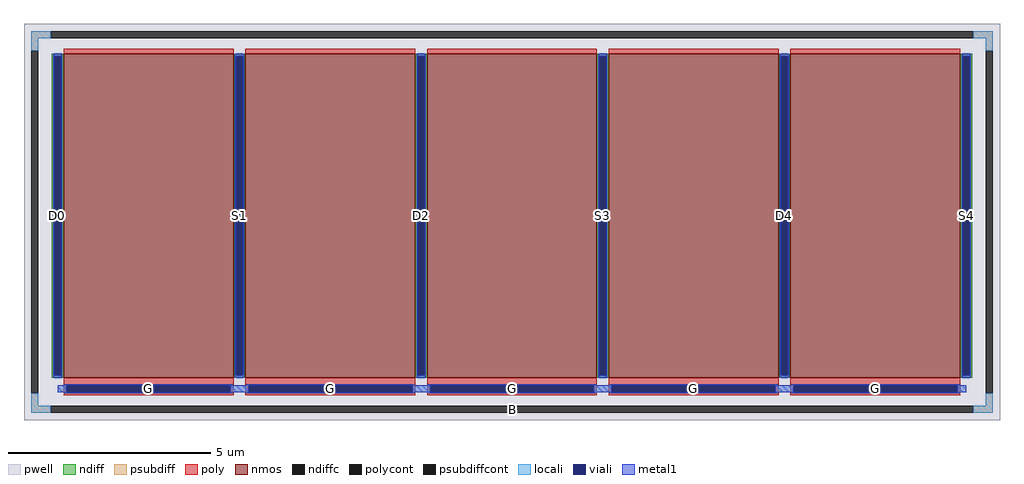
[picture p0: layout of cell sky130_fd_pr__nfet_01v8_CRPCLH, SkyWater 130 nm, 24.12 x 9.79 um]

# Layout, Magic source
magic
tech sky130A
magscale 1 2
<< pwell >>
rect -2412 -979 2412 979
<< nmos >>
rect -2216 -769 -1376 831
rect -1318 -769 -478 831
rect -420 -769 420 831
rect 478 -769 1318 831
rect 1376 -769 2216 831
<< ndiff >>
rect -2274 819 -2216 831
rect -2274 -757 -2262 819
rect -2228 -757 -2216 819
rect -2274 -769 -2216 -757
rect -1376 819 -1318 831
rect -1376 -757 -1364 819
rect -1330 -757 -1318 819
rect -1376 -769 -1318 -757
rect -478 819 -420 831
rect -478 -757 -466 819
rect -432 -757 -420 819
rect -478 -769 -420 -757
rect 420 819 478 831
rect 420 -757 432 819
rect 466 -757 478 819
rect 420 -769 478 -757
rect 1318 819 1376 831
rect 1318 -757 1330 819
rect 1364 -757 1376 819
rect 1318 -769 1376 -757
rect 2216 819 2274 831
rect 2216 -757 2228 819
rect 2262 -757 2274 819
rect 2216 -769 2274 -757
<< ndiffc >>
rect -2262 -757 -2228 819
rect -1364 -757 -1330 819
rect -466 -757 -432 819
rect 432 -757 466 819
rect 1330 -757 1364 819
rect 2228 -757 2262 819
<< psubdiff >>
rect -2376 909 -2280 943
rect 2280 909 2376 943
rect -2376 847 -2342 909
rect 2342 847 2376 909
rect -2376 -909 -2342 -847
rect 2342 -909 2376 -847
rect -2376 -943 -2280 -909
rect 2280 -943 2376 -909
<< psubdiffcont >>
rect -2280 909 2280 943
rect -2376 -847 -2342 847
rect 2342 -847 2376 847
rect -2280 -943 2280 -909
<< poly >>
rect -2216 831 -1376 857
rect -1318 831 -478 857
rect -420 831 420 857
rect 478 831 1318 857
rect 1376 831 2216 857
rect -2216 -807 -1376 -769
rect -2216 -841 -2200 -807
rect -1392 -841 -1376 -807
rect -2216 -857 -1376 -841
rect -1318 -807 -478 -769
rect -1318 -841 -1302 -807
rect -494 -841 -478 -807
rect -1318 -857 -478 -841
rect -420 -807 420 -769
rect -420 -841 -404 -807
rect 404 -841 420 -807
rect -420 -857 420 -841
rect 478 -807 1318 -769
rect 478 -841 494 -807
rect 1302 -841 1318 -807
rect 478 -857 1318 -841
rect 1376 -807 2216 -769
rect 1376 -841 1392 -807
rect 2200 -841 2216 -807
rect 1376 -857 2216 -841
<< polycont >>
rect -2200 -841 -1392 -807
rect -1302 -841 -494 -807
rect -404 -841 404 -807
rect 494 -841 1302 -807
rect 1392 -841 2200 -807
<< locali >>
rect -2376 909 -2280 943
rect 2280 909 2376 943
rect -2376 847 -2342 909
rect 2342 847 2376 909
rect -2262 819 -2228 835
rect -2262 -773 -2228 -757
rect -1364 819 -1330 835
rect -1364 -773 -1330 -757
rect -466 819 -432 835
rect -466 -773 -432 -757
rect 432 819 466 835
rect 432 -773 466 -757
rect 1330 819 1364 835
rect 1330 -773 1364 -757
rect 2228 819 2262 835
rect 2228 -773 2262 -757
rect -2245 -841 -2200 -807
rect -1392 -841 -1302 -807
rect -494 -841 -404 -807
rect 404 -841 494 -807
rect 1302 -841 1392 -807
rect 2200 -841 2245 -807
rect -2376 -909 -2342 -847
rect 2342 -909 2376 -847
rect -2376 -943 -2280 -909
rect 2280 -943 2376 -909
<< viali >>
rect -2262 -757 -2228 819
rect -1364 -757 -1330 819
rect -466 -757 -432 819
rect 432 -757 466 819
rect 1330 -757 1364 819
rect 2228 -757 2262 819
rect -2200 -841 -1392 -807
rect -1302 -841 -494 -807
rect -404 -841 404 -807
rect 494 -841 1302 -807
rect 1392 -841 2200 -807
<< metal1 >>
rect -2268 819 -2222 831
rect -2268 -757 -2262 819
rect -2228 -757 -2222 819
rect -2268 -769 -2222 -757
rect -1370 819 -1324 831
rect -1370 -757 -1364 819
rect -1330 -757 -1324 819
rect -1370 -769 -1324 -757
rect -472 819 -426 831
rect -472 -757 -466 819
rect -432 -757 -426 819
rect -472 -769 -426 -757
rect 426 819 472 831
rect 426 -757 432 819
rect 466 -757 472 819
rect 426 -769 472 -757
rect 1324 819 1370 831
rect 1324 -757 1330 819
rect 1364 -757 1370 819
rect 1324 -769 1370 -757
rect 2222 819 2268 831
rect 2222 -757 2228 819
rect 2262 -757 2268 819
rect 2222 -769 2268 -757
rect -2212 -807 -1380 -801
rect -1314 -807 -482 -801
rect -416 -807 416 -801
rect 482 -807 1314 -801
rect 1380 -807 2212 -801
rect -2245 -841 -2200 -807
rect -1392 -841 -1302 -807
rect -494 -841 -404 -807
rect 404 -841 494 -807
rect 1302 -841 1392 -807
rect 2200 -841 2245 -807
rect -2212 -847 -1380 -841
rect -1314 -847 -482 -841
rect -416 -847 416 -841
rect 482 -847 1314 -841
rect 1380 -847 2212 -841
<< labels >>
rlabel psubdiffcont 0 -926 0 -926 0 B
port 1 nsew
rlabel ndiffc -2245 31 -2245 31 0 D0
port 2 nsew
rlabel polycont -1796 -824 -1796 -824 0 G
port 3 nsew
rlabel ndiffc -1347 31 -1347 31 0 S1
port 4 nsew
rlabel polycont -898 -824 -898 -824 0 G
port 3 nsew
rlabel ndiffc -449 31 -449 31 0 D2
port 5 nsew
rlabel polycont 0 -824 0 -824 0 G
port 3 nsew
rlabel ndiffc 449 31 449 31 0 S3
port 6 nsew
rlabel polycont 898 -824 898 -824 0 G
port 3 nsew
rlabel ndiffc 1347 31 1347 31 0 D4
port 7 nsew
rlabel ndiffc 2245 31 2245 31 0 S4
port 8 nsew
rlabel polycont 1796 -824 1796 -824 0 G
port 3 nsew
<< properties >>
string FIXED_BBOX -2359 -926 2359 926
string gencell sky130_fd_pr__nfet_01v8
string library sky130
string parameters w 8 l 4.2 m 1 nf 5 diffcov 100 polycov 100 guard 1 glc 1 grc 1 gtc 1 gbc 1 tbcov 100 rlcov 100 topc 0 botc 1 poverlap 0 doverlap 1 lmin 0.15 wmin 0.42 class mosfet compatible {sky130_fd_pr__nfet_01v8 sky130_fd_pr__nfet_01v8_lvt  sky130_fd_bs_flash__special_sonosfet_star  sky130_fd_pr__nfet_g5v0d10v5 sky130_fd_pr__nfet_05v0_nvt  sky130_fd_pr__nfet_03v3_nvt} full_metal 1 conn_gates 1 viasrc 100 viadrn 100 viagate 100 viagb 0 viagr 0 viagl 0 viagt 0 doports 1
<< end >>
